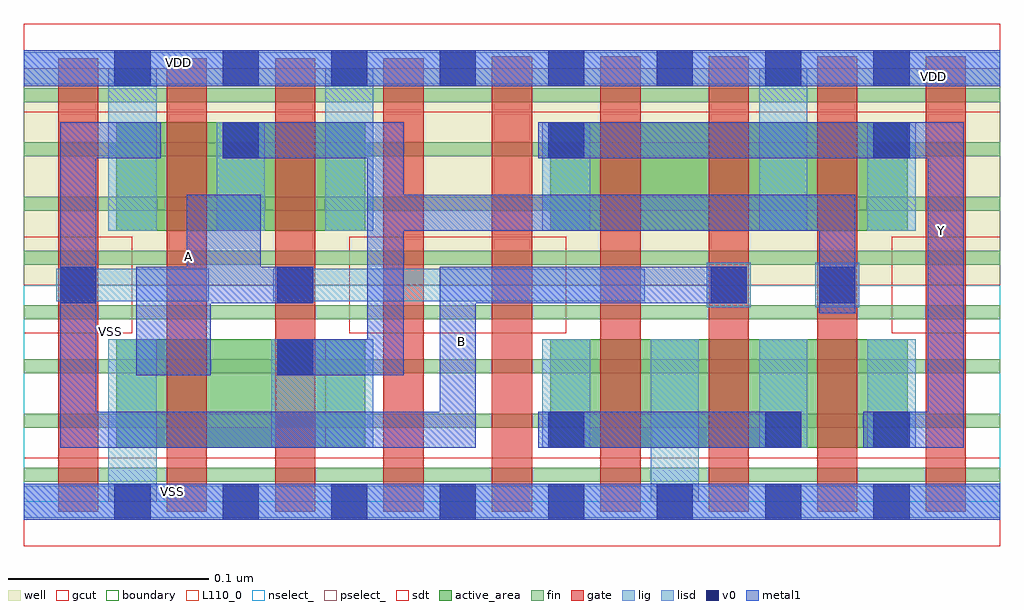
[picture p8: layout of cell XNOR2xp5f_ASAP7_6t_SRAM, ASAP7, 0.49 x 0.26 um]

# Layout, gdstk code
import gdstk
lib = gdstk.Library(unit=1e-6, precision=2.5e-10)
def R(c, l, rs):  # rectangles x0, y0, x1, y1
    for r in rs: c.add(gdstk.rectangle(r[:2], r[2:], *l))
def A(c, l, x, y, w, h, nx, ny, dx, dy):  # array of equal rectangles
    R(c, l, [(x+i*dx, y+j*dy, x+i*dx+w, y+j*dy+h) for i in range(nx) for j in range(ny)])
def P(c, l, *ps):  # polygons
    for p in ps: c.add(gdstk.Polygon(p, *l))
well = (1, 0)
fin = (2, 0)
gate = (7, 0)
gcut = (10, 0)
active_area = (11, 0)
nselect_ = (12, 0)
pselect_ = (13, 0)
lig = (16, 0)
lisd = (17, 0)
v0 = (18, 0)
metal1 = (19, 0)
sdt = (88, 0)
boundary = (100, 0)
L110_0 = (110, 0)

xnor2xp5f_asap7_6t_sram = lib.new_cell('XNOR2xp5f_ASAP7_6t_SRAM')
R(xnor2xp5f_asap7_6t_sram, well, [(0,0.108,0.486,0.216)])
A(xnor2xp5f_asap7_6t_sram, fin, 0, 0.01, 0.486, 0.007, 1, 8, 0, 0.027)
A(xnor2xp5f_asap7_6t_sram, gate, 0.017, -0.005, 0.02, 0.226, 4, 1, 0.054, 0)
A(xnor2xp5f_asap7_6t_sram, gate, 0.233, -0.005, 0.02, 0.227, 5, 1, 0.054, 0)
R(xnor2xp5f_asap7_6t_sram, gcut, [(0,-0.022,0.486,0.022), (0,0.084,0.054,0.132), (0.162,0.084,0.27,0.132), (0.432,0.084,0.486,0.132), (0,0.194,0.486,0.238)])
R(xnor2xp5f_asap7_6t_sram, active_area, [(0.046,0.027,0.17,0.081), (0.262,0.027,0.44,0.081), (0.046,0.135,0.17,0.189), (0.262,0.135,0.44,0.189)])
R(xnor2xp5f_asap7_6t_sram, nselect_, [(0,0,0.486,0.108)])
R(xnor2xp5f_asap7_6t_sram, pselect_, [(0,0.108,0.486,0.216)])
R(xnor2xp5f_asap7_6t_sram, lig, [(0,-0.008,0.486,0.008), (0.34,0.097,0.362,0.119), (0.394,0.097,0.416,0.119), (0.016,0.1,0.092,0.116), (0.124,0.1,0.309,0.116), (0,0.208,0.486,0.224)])
A(xnor2xp5f_asap7_6t_sram, lisd, 0.096, 0.135, 0.024, 0.054, 3, 1, 0.162, 0)
R(xnor2xp5f_asap7_6t_sram, lisd, [(0.042,0,0.066,0.081), (0.312,0,0.336,0.081), (0.123,0.027,0.174,0.081), (0.258,0.027,0.282,0.081), (0.366,0.027,0.39,0.081), (0.42,0.027,0.444,0.081), (0.042,0.135,0.066,0.216), (0.15,0.135,0.174,0.216), (0.366,0.135,0.39,0.216)])
A(xnor2xp5f_asap7_6t_sram, v0, 0.045, -0.009, 0.018, 0.018, 8, 2, 0.054, 0.216)
A(xnor2xp5f_asap7_6t_sram, v0, 0.099, 0.171, 0.018, 0.018, 3, 1, 0.162, 0)
R(xnor2xp5f_asap7_6t_sram, v0, [(0.261,0.027,0.279,0.045), (0.369,0.027,0.387,0.045), (0.423,0.027,0.441,0.045), (0.126,0.063,0.144,0.081), (0.018,0.099,0.036,0.117), (0.126,0.099,0.144,0.117), (0.342,0.099,0.36,0.117), (0.396,0.099,0.414,0.117)])
R(xnor2xp5f_asap7_6t_sram, metal1, [(0,-0.009,0.486,0.009), (0.256,0.027,0.387,0.045), (0,0.207,0.486,0.225)])
P(xnor2xp5f_asap7_6t_sram, metal1, [(0.468,0.189),(0.256,0.189),(0.256,0.171),(0.45,0.171),(0.45,0.045),(0.418,0.045),(0.418,0.027),(0.468,0.027)],
  [(0.414,0.153),(0.189,0.153),(0.189,0.189),(0.099,0.189),(0.099,0.171),(0.171,0.171),(0.171,0.081),(0.126,0.081),(0.126,0.063),(0.189,0.063),(0.189,0.135),(0.396,0.135),(0.396,0.094),(0.414,0.094)],
  [(0.36,0.117),(0.207,0.117),(0.207,0.045),(0.036,0.045),(0.036,0.171),(0.068,0.171),(0.068,0.189),(0.018,0.189),(0.018,0.027),(0.225,0.027),(0.225,0.099),(0.36,0.099)],
  [(0.144,0.117),(0.118,0.117),(0.118,0.153),(0.081,0.153),(0.081,0.117),(0.056,0.117),(0.056,0.063),(0.093,0.063),(0.093,0.099),(0.144,0.099)])
A(xnor2xp5f_asap7_6t_sram, sdt, 0.042, 0.027, 0.024, 0.054, 3, 1, 0.108, 0)
A(xnor2xp5f_asap7_6t_sram, sdt, 0.312, 0.027, 0.024, 0.054, 3, 1, 0.054, 0)
A(xnor2xp5f_asap7_6t_sram, sdt, 0.042, 0.135, 0.024, 0.054, 3, 1, 0.054, 0)
R(xnor2xp5f_asap7_6t_sram, sdt, [(0.258,0.135,0.282,0.189), (0.366,0.135,0.39,0.189), (0.42,0.135,0.444,0.189)])
R(xnor2xp5f_asap7_6t_sram, boundary, [(0,0,0.486,0.216)])
R(xnor2xp5f_asap7_6t_sram, L110_0, [(0,0,0.486,0.216)])
xnor2xp5f_asap7_6t_sram.add(gdstk.Label('VSS', (0.043,0.085), layer=3, texttype=251))
xnor2xp5f_asap7_6t_sram.add(gdstk.Label('B', (0.218,0.08), layer=19, texttype=251))
xnor2xp5f_asap7_6t_sram.add(gdstk.Label('VSS', (0.074,0.005), layer=19, texttype=251))
xnor2xp5f_asap7_6t_sram.add(gdstk.Label('VDD', (0.077,0.219), layer=19, texttype=251))
xnor2xp5f_asap7_6t_sram.add(gdstk.Label('A', (0.082,0.122), layer=19, texttype=251))
xnor2xp5f_asap7_6t_sram.add(gdstk.Label('Y', (0.457,0.135), layer=19, texttype=251))
xnor2xp5f_asap7_6t_sram.add(gdstk.Label('VDD', (0.453,0.212), layer=1, texttype=251))

lib.write_gds('XNOR2xp5f_ASAP7_6t_SRAM.gds')
